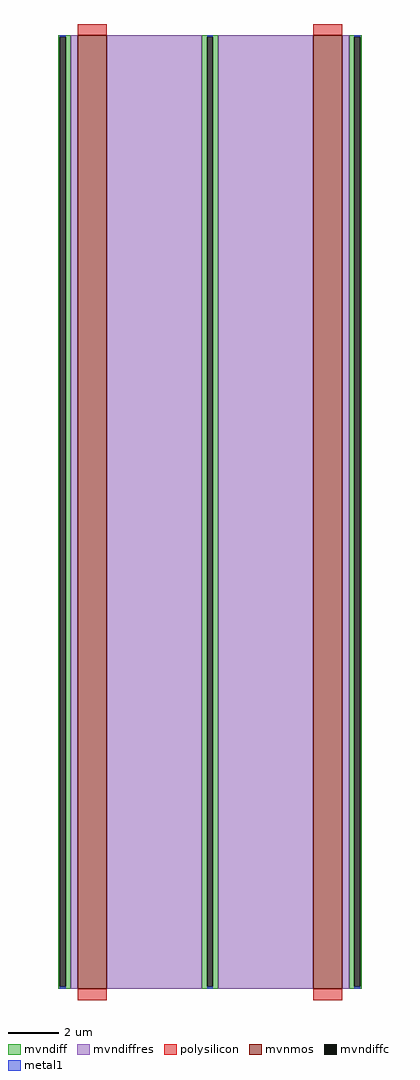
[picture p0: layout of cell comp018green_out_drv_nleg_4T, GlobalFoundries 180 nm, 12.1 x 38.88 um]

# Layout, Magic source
magic
tech gf180mcuD
magscale 1 10
<< mvnmos >>
rect 206 532 436 8132
rect 2080 532 2310 8132
<< mvndiff >>
rect 48 8119 150 8132
rect 48 549 61 8119
rect 107 549 150 8119
rect 48 532 150 549
rect 1192 8119 1324 8132
rect 1192 549 1235 8119
rect 1281 549 1324 8119
rect 1192 532 1324 549
rect 2366 8119 2468 8132
rect 2366 549 2409 8119
rect 2455 549 2468 8119
rect 2366 532 2468 549
<< mvndiffc >>
rect 61 549 107 8119
rect 1235 549 1281 8119
rect 2409 549 2455 8119
<< polysilicon >>
rect 206 8132 436 8220
rect 2080 8132 2310 8220
rect 206 444 436 532
rect 2080 444 2310 532
<< mvndiffres >>
rect 150 532 206 8132
rect 436 532 1192 8132
rect 1324 532 2080 8132
rect 2310 532 2366 8132
<< metal1 >>
rect 61 8119 107 8132
rect 61 532 107 549
rect 1235 8119 1281 8132
rect 1235 532 1281 549
rect 2409 8119 2455 8132
rect 2409 532 2455 549
<< properties >>
string GDS_END 3194560
string GDS_FILE $PDKPATH/libs.ref/gf180mcu_fd_io/gds/gf180mcu_fd_io.gds
string GDS_START 3172476
<< end >>
